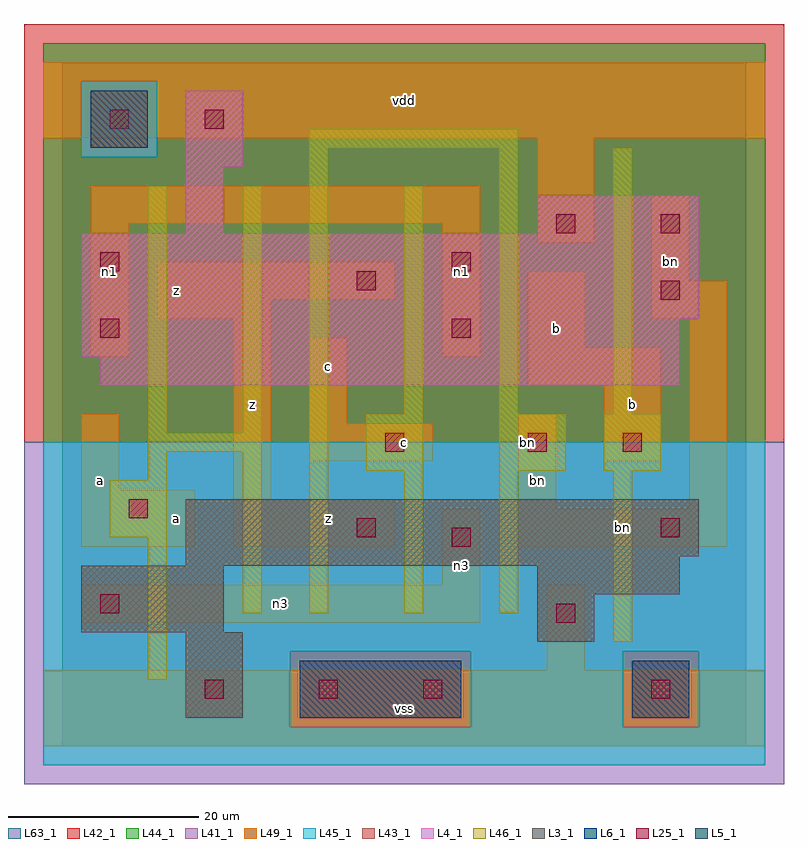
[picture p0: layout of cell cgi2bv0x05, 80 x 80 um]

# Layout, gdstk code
import gdstk
lib = gdstk.Library(unit=1e-6, precision=1e-09)
def R(c, l, rs):  # rectangles x0, y0, x1, y1
    for r in rs: c.add(gdstk.rectangle(r[:2], r[2:], *l))
L3_1 = (3, 1)
L4_1 = (4, 1)
L5_1 = (5, 1)
L6_1 = (6, 1)
L25_1 = (25, 1)
L41_1 = (41, 1)
L42_1 = (42, 1)
L43_1 = (43, 1)
L44_1 = (44, 1)
L45_1 = (45, 1)
L46_1 = (46, 1)
L49_1 = (49, 1)
L63_1 = (63, 1)

cgi2bv0x05 = lib.new_cell('cgi2bv0x05')
R(cgi2bv0x05, L3_1, [(13,3,19,12), (50,11,56,16), (2,12,17,19), (50,16,65,19), (13,19,65,20), (13,20,67,26)])
R(cgi2bv0x05, L4_1, [(4,38,65,41), (2,41,65,45), (2,45,67,54), (13,54,17,61), (50,54,67,58), (13,61,19,69)])
R(cgi2bv0x05, L5_1, [(3,63,9,69)])
R(cgi2bv0x05, L6_1, [(25,3,42,9), (25,3,42,9), (60,3,66,9), (60,3,66,9)])
R(cgi2bv0x05, L25_1, [(15,5,17,7), (27,5,29,7), (38,5,40,7), (62,5,64,7), (52,13,54,15), (4,14,6,16), (41,21,43,23), (31,22,33,24), (63,22,65,24), (7,24,9,26), (34,31,36,33), (49,31,51,33), (59,31,61,33), (4,43,6,45), (41,43,43,45), (63,47,65,49), (31,48,33,50), (4,50,6,52), (41,50,43,52), (52,54,54,56), (63,54,65,56), (5,65,7,67), (15,65,17,67)])
R(cgi2bv0x05, L41_1, [(-4,-4,76,32)])
R(cgi2bv0x05, L42_1, [(-4,32,76,76)])
R(cgi2bv0x05, L43_1, [(13,3,19,12), (25,3,42,9), (60,3,66,9), (50,11,56,16), (2,12,17,19), (50,16,65,19), (13,19,65,20), (13,20,67,26), (4,38,65,41), (2,41,65,45), (2,45,67,54), (13,54,17,61), (50,54,67,58), (13,61,19,69), (3,63,9,69)])
R(cgi2bv0x05, L44_1, [(24,2,43,10), (59,2,67,10), (-2,32,74,62), (-2,62,2,70), (10,62,74,70), (-2,70,74,74)])
R(cgi2bv0x05, L45_1, [(-2,-2,74,2), (-2,2,24,10), (43,2,59,10), (67,2,74,10), (-2,10,74,32), (2,62,10,70)])
R(cgi2bv0x05, L46_1, [(9,7,11,22), (58,11,60,29), (19,14,21,31), (26,14,28,63), (36,14,38,29), (46,14,48,29), (5,22,11,28), (9,28,11,31), (32,29,38,35), (46,29,53,35), (57,29,63,35), (9,31,21,33), (9,33,11,59), (19,33,21,59), (36,35,38,59), (46,35,48,63), (58,35,60,63), (26,63,48,65)])
R(cgi2bv0x05, L49_1, [(-2,0,74,8), (51,8,55,17), (2,13,44,17), (40,17,44,25), (2,21,14,27), (18,21,35,26), (48,21,70,25), (48,25,52,35), (66,25,70,45), (18,26,22,45), (2,27,6,35), (26,30,39,34), (57,30,63,38), (26,34,30,43), (49,38,63,42), (3,41,7,55), (40,41,44,55), (49,42,55,50), (10,45,22,47), (62,45,70,49), (10,47,35,51), (62,49,66,58), (50,53,56,64), (3,55,44,59), (-2,64,74,72)])
R(cgi2bv0x05, L63_1, [(0,0,72,72)])
cgi2bv0x05.add(gdstk.Label('bn', (49,32), layer=49, texttype=1))
cgi2bv0x05.add(gdstk.Label('a', (12,24), layer=49, texttype=1))
cgi2bv0x05.add(gdstk.Label('a', (4,28), layer=49, texttype=1))
cgi2bv0x05.add(gdstk.Label('z', (12,48), layer=49, texttype=1))
cgi2bv0x05.add(gdstk.Label('n1', (5,50), layer=49, texttype=1))
cgi2bv0x05.add(gdstk.Label('z', (28,24), layer=49, texttype=1))
cgi2bv0x05.add(gdstk.Label('c', (28,40), layer=49, texttype=1))
cgi2bv0x05.add(gdstk.Label('z', (20,36), layer=49, texttype=1))
cgi2bv0x05.add(gdstk.Label('vss', (36,4), layer=49, texttype=1))
cgi2bv0x05.add(gdstk.Label('n3', (23,15), layer=49, texttype=1))
cgi2bv0x05.add(gdstk.Label('n3', (42,19), layer=49, texttype=1))
cgi2bv0x05.add(gdstk.Label('c', (36,32), layer=49, texttype=1))
cgi2bv0x05.add(gdstk.Label('bn', (50,28), layer=49, texttype=1))
cgi2bv0x05.add(gdstk.Label('b', (52,44), layer=49, texttype=1))
cgi2bv0x05.add(gdstk.Label('n1', (42,50), layer=49, texttype=1))
cgi2bv0x05.add(gdstk.Label('vdd', (36,68), layer=49, texttype=1))
cgi2bv0x05.add(gdstk.Label('bn', (59,23), layer=49, texttype=1))
cgi2bv0x05.add(gdstk.Label('b', (60,36), layer=49, texttype=1))
cgi2bv0x05.add(gdstk.Label('bn', (64,51), layer=49, texttype=1))

lib.write_gds('cgi2bv0x05.gds')
